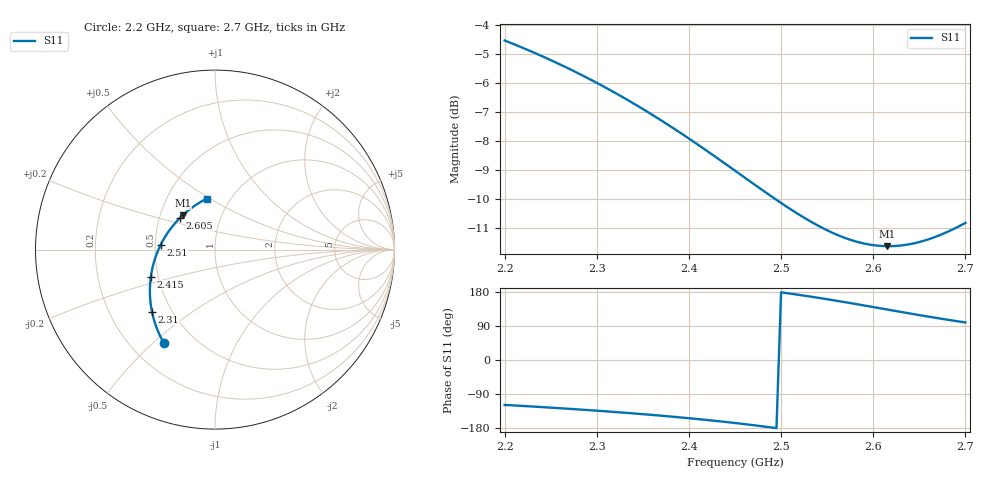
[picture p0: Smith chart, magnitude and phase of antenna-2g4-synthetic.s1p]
! Synthetic 2.4 GHz antenna feedpoint, made up for SmithChart.Online (scripts/synth-antenna.mjs)
! Not a measurement and not a vendor file: a series R, L and C with a shunt C across it
! R 25 ohm, L 9 nH, C 0.4689 pF (series resonance 2.45 GHz), shunt C 0.5 pF
# GHZ S RI R 50
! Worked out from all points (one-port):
!   101 points, 2.2 GHz to 2.7 GHz, reference 50 ohm
!   lowest |S11| = -11.6 dB at 2.615 GHz (marker M1), VSWR 1.71, Z = 32.6 + j13.4 ohm
!   |S11| at or under -10 dB: 2.494 GHz to end of sweep
!   S11 on the Smith chart (normalised r, x): 2.2 GHz: 0.34, -0.54; 2.31 GHz: 0.39, -0.35; 2.415 GHz: 0.46, -0.16; 2.51 GHz: 0.53, +0.03; 2.605 GHz: 0.64, +0.24; 2.7 GHz: 0.78, +0.48
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2.2  -0.284 -0.5222
2.235  -0.3108 -0.47
2.265  -0.33 -0.4221
2.29  -0.343 -0.38
2.31  -0.3512 -0.3451
2.325  -0.356 -0.3184
2.345  -0.3604 -0.2819
2.36  -0.3623 -0.2542
2.39  -0.3619 -0.1978
2.415  -0.3573 -0.1504
2.435  -0.3508 -0.1124
2.45  -0.3441 -0.0841
2.465  -0.336 -0.0561
2.48  -0.3265 -0.0283
2.51  -0.3031 0.0258
2.515  -0.2986 0.0346
2.545  -0.2688 0.0857
2.56  -0.2519 0.1101
2.575  -0.2338 0.1335
2.59  -0.2145 0.156
2.605  -0.1941 0.1773
2.615  -0.18 0.191
2.625  -0.1654 0.2041
2.64  -0.1429 0.2227
2.655  -0.1195 0.2401
2.67  -0.0954 0.2561
2.685  -0.0706 0.2709
2.7  -0.0454 0.2842
